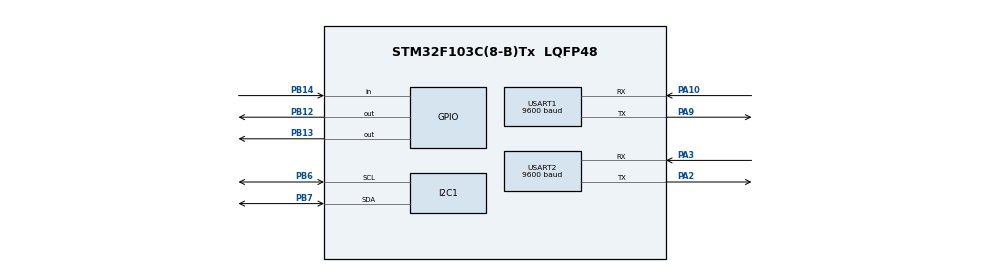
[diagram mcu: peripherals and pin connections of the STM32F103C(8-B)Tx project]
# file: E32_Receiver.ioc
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I2C1.I2C_Mode=I2C_Fast
Mcu.Family=STM32F1
Mcu.Name=STM32F103C(8-B)Tx
Mcu.Package=LQFP48
NVIC.PriorityGroup=NVIC_PRIORITYGROUP_4
NVIC.USART2_IRQn=true\:0\:0\:false\:false\:true\:true\:true\:true
PA10.Mode=Asynchronous
PA10.Signal=USART1_RX
PA13.Mode=Serial_Wire
PA13.Signal=SYS_JTMS-SWDIO
PA14.Mode=Serial_Wire
PA14.Signal=SYS_JTCK-SWCLK
PA2.Mode=Asynchronous
PA2.Signal=USART2_TX
PA3.Mode=Asynchronous
PA3.Signal=USART2_RX
PA9.Mode=Asynchronous
PA9.Signal=USART1_TX
PB12.Signal=GPIO_Output
PB13.Signal=GPIO_Output
PB14.Signal=GPIO_Input
PB6.Mode=I2C
PB6.Signal=I2C1_SCL
PB7.Mode=I2C
PB7.Signal=I2C1_SDA
ProjectManager.HeapSize=0x200
ProjectManager.StackSize=0x400
ProjectManager.TargetToolchain=STM32CubeIDE
RCC.APB1Freq_Value=8000000
RCC.APB2Freq_Value=8000000
USART1.BaudRate=9600
USART1.VirtualMode=VM_ASYNC
USART2.BaudRate=9600
USART2.VirtualMode=VM_ASYNC
board=custom

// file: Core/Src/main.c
/* USER CODE BEGIN Header */
/**
  ******************************************************************************
  * @file           : main.c
  * @brief          : Main program body
  ******************************************************************************
  * @attention
  *
  * Copyright (c) 2025 STMicroelectronics.
  * All rights reserved.
  *
  * This software is licensed under terms that can be found in the LICENSE file
  * in the root directory of this software component.
  * If no LICENSE file comes with this software, it is provided AS-IS.
  *
  ******************************************************************************
  */
/* USER CODE END Header */
#include "main.h"

/* USER CODE BEGIN Includes */
#include "stdio.h"
#include "ssd1306.h"
#include "e32.h"
#include "e32_config.h"
#include "gps_parser.h"
#include "bt.h"
/* USER CODE END Includes */

I2C_HandleTypeDef hi2c1;

UART_HandleTypeDef huart1;
UART_HandleTypeDef huart2;

void SystemClock_Config(void);
static void MX_GPIO_Init(void);
static void MX_I2C1_Init(void);
static void MX_USART2_UART_Init(void);
static void MX_USART1_UART_Init(void);

int main(void)
{

  /* MCU Configuration--------------------------------------------------------*/

  /* Reset of all peripherals, Initializes the Flash interface and the Systick. */
  HAL_Init();

  /* Configure the system clock */
  SystemClock_Config();

  /* Initialize all configured peripherals */
  MX_GPIO_Init();
  MX_I2C1_Init();
  MX_USART2_UART_Init();
  MX_USART1_UART_Init();
  /* USER CODE BEGIN 2 */
//  TestE32();
//  uint8_t cfg[6];

  // Запис дефолту
//  E32_WriteDefaultConfig();

  // Зчитування конфігурації
//  E32_ReadConfig(cfg);
//  printf("CFG: %02X %02X %02X %02X %02X %02X\n",
//         cfg[0], cfg[1], cfg[2], cfg[3], cfg[4], cfg[5]);
  E32_Init(&huart2);

//  E32_RX_Init(&huart2);
  uint32_t found_speed;
  uint8_t cfg[6];

//  while(E32_AutoDetectSpeed(&found_speed, cfg) != 0)
//  {
////      printf("E32 UART speed detected: %lu\n", found_speed);
////      printf("CFG: %02X %02X %02X %02X %02X %02X\n",
////             cfg[0], cfg[1], cfg[2], cfg[3], cfg[4], cfg[5]);
//  }
//  else
//  {
//      printf("ERROR: Could not detect UART speed!\n");
//  }
//  E32_RX_Init(&huart2);
//  E32_SetMode(E32_MODE_NORMAL);
//  uint8_t cfg[6];
//  E32_GetConfiguration(cfg, 500000); // timeout 500 ms
//  E32_EnableRSSI();
//  HAL_UART_Receive_IT(&huart2, LoRa_RX_Buffer, 1);
//  E32_SetMode(E32_MODE_NORMAL);
  ssd1306_init();
  ssd1306_clear();
  ssd1306_write_string(0, 0, "LoRa Receiver");
  E32_RX_Init(&huart2);
  BT_Init(&huart1);
  srand(HAL_GetTick());

  /* USER CODE END 2 */

  /* Infinite loop */
  /* USER CODE BEGIN WHILE */
	char msg[128];
    while (1)
  {

    	GPSPacket_t fake;

		fake.lat   = rand_float(-90.0f, 90.0f);
		fake.lon   = rand_float(-180.0f, 180.0f);
		fake.alt   = rand_float(0.0f, 2000.0f);     // довільно
		fake.speed = rand_float(0.0f, 120.0f);      // довільно

		// Формуємо текст для передачі
		char bt_msg[64];
		snprintf(bt_msg, sizeof(bt_msg),
				 "Lat=%.6f Lon=%.6f Alt=%.1f Speed=%.2f\n",
				 fake.lat, fake.lon, fake.alt, fake.speed);

		// Надсилаємо на Bluetooth
		BT_Send(bt_msg);
		HAL_Delay(2000);
		continue;
    	if (E32_RX_MessageReady())
    	{
    		E32_RX_GetMessage(msg, sizeof(msg));
    		printf("RECEIVED: %s\n", msg);

    		GPSPacket_t gps;

    		if (GPS_Parse(msg, &gps))
    		{
    			printf("Lat=%.6f  Lon=%.6f  Alt=%.1f  Speed=%.2f\n",
    				   gps.lat, gps.lon, gps.alt, gps.speed);
    		}
    		else
    		{
    			printf("Parse error!\n");
    		}
    		ssd1306_write_string(0, 0, "LoRa Receiver");char buf[32];

    		if (GPS_Parse(msg, &gps))
    		{
    		    snprintf(buf, sizeof(buf), "Lat: %.6f", gps.lat);
    		    ssd1306_write_string(0, 1, buf);

    		    snprintf(buf, sizeof(buf), "Lon: %.6f", gps.lon);
    		    ssd1306_write_string(0, 2, buf);

    		    snprintf(buf, sizeof(buf), "Alt: %.1f m", gps.alt);
    		    ssd1306_write_string(0, 3, buf);

    		    snprintf(buf, sizeof(buf), "Spd: %.2f km/h", gps.speed);
    		    ssd1306_write_string(0, 4, buf);
    		}
    		else
    		{
//    		    ssd1306_write_string(0, 0, "Parse error!");
    			// Генеруємо випадкові координати
				GPSPacket_t fake;

				fake.lat   = rand_float(-90.0f, 90.0f);
				fake.lon   = rand_float(-180.0f, 180.0f);
				fake.alt   = rand_float(0.0f, 2000.0f);     // довільно
				fake.speed = rand_float(0.0f, 120.0f);      // довільно

				// Формуємо текст для передачі
				char bt_msg[64];
				snprintf(bt_msg, sizeof(bt_msg),
						 "Lat=%.6f Lon=%.6f Alt=%.1f Speed=%.2f\n",
						 fake.lat, fake.lon, fake.alt, fake.speed);

				// Надсилаємо на Bluetooth
				BT_Send(bt_msg);
    		}

    		// TODO: розбір GPS тут, якщо хочеш
    	}
    /* USER CODE END WHILE */

  }
}

void SystemClock_Config(void)
{
  RCC_OscInitTypeDef RCC_OscInitStruct = {0};
  RCC_ClkInitTypeDef RCC_ClkInitStruct = {0};

  /** Initializes the RCC Oscillators according to the specified parameters
  * in the RCC_OscInitTypeDef structure.
  */
  RCC_OscInitStruct.OscillatorType = RCC_OSCILLATORTYPE_HSI;
  RCC_OscInitStruct.HSIState = RCC_HSI_ON;
  RCC_OscInitStruct.HSICalibrationValue = RCC_HSICALIBRATION_DEFAULT;
  RCC_OscInitStruct.PLL.PLLState = RCC_PLL_NONE;
  if (HAL_RCC_OscConfig(&RCC_OscInitStruct) != HAL_OK)
  {
    Error_Handler();
  }

  /** Initializes the CPU, AHB and APB buses clocks
  */
  RCC_ClkInitStruct.ClockType = RCC_CLOCKTYPE_HCLK|RCC_CLOCKTYPE_SYSCLK
                              |RCC_CLOCKTYPE_PCLK1|RCC_CLOCKTYPE_PCLK2;
  RCC_ClkInitStruct.SYSCLKSource = RCC_SYSCLKSOURCE_HSI;
  RCC_ClkInitStruct.AHBCLKDivider = RCC_SYSCLK_DIV1;
  RCC_ClkInitStruct.APB1CLKDivider = RCC_HCLK_DIV1;
  RCC_ClkInitStruct.APB2CLKDivider = RCC_HCLK_DIV1;

  if (HAL_RCC_ClockConfig(&RCC_ClkInitStruct, FLASH_LATENCY_0) != HAL_OK)
  {
    Error_Handler();
  }
}

static void MX_I2C1_Init(void)
{

  hi2c1.Instance = I2C1;
  hi2c1.Init.ClockSpeed = 400000;
  hi2c1.Init.DutyCycle = I2C_DUTYCYCLE_2;
  hi2c1.Init.OwnAddress1 = 0;
  hi2c1.Init.AddressingMode = I2C_ADDRESSINGMODE_7BIT;
  hi2c1.Init.DualAddressMode = I2C_DUALADDRESS_DISABLE;
  hi2c1.Init.OwnAddress2 = 0;
  hi2c1.Init.GeneralCallMode = I2C_GENERALCALL_DISABLE;
  hi2c1.Init.NoStretchMode = I2C_NOSTRETCH_DISABLE;
  if (HAL_I2C_Init(&hi2c1) != HAL_OK)
  {
    Error_Handler();
  }

}

static void MX_USART1_UART_Init(void)
{

  huart1.Instance = USART1;
  huart1.Init.BaudRate = 9600;
  huart1.Init.WordLength = UART_WORDLENGTH_8B;
  huart1.Init.StopBits = UART_STOPBITS_1;
  huart1.Init.Parity = UART_PARITY_NONE;
  huart1.Init.Mode = UART_MODE_TX_RX;
  huart1.Init.HwFlowCtl = UART_HWCONTROL_NONE;
  huart1.Init.OverSampling = UART_OVERSAMPLING_16;
  if (HAL_UART_Init(&huart1) != HAL_OK)
  {
    Error_Handler();
  }

}

static void MX_USART2_UART_Init(void)
{

  huart2.Instance = USART2;
  huart2.Init.BaudRate = 9600;
  huart2.Init.WordLength = UART_WORDLENGTH_8B;
  huart2.Init.StopBits = UART_STOPBITS_1;
  huart2.Init.Parity = UART_PARITY_NONE;
  huart2.Init.Mode = UART_MODE_TX_RX;
  huart2.Init.HwFlowCtl = UART_HWCONTROL_NONE;
  huart2.Init.OverSampling = UART_OVERSAMPLING_16;
  if (HAL_UART_Init(&huart2) != HAL_OK)
  {
    Error_Handler();
  }

}

static void MX_GPIO_Init(void)
{
  GPIO_InitTypeDef GPIO_InitStruct = {0};

  /* GPIO Ports Clock Enable */
  __HAL_RCC_GPIOA_CLK_ENABLE();
  __HAL_RCC_GPIOB_CLK_ENABLE();

  /*Configure GPIO pin Output Level */
  HAL_GPIO_WritePin(GPIOB, GPIO_PIN_12|GPIO_PIN_13, GPIO_PIN_RESET);

  /*Configure GPIO pins : PB12 PB13 */
  GPIO_InitStruct.Pin = GPIO_PIN_12|GPIO_PIN_13;
  GPIO_InitStruct.Mode = GPIO_MODE_OUTPUT_PP;
  GPIO_InitStruct.Pull = GPIO_NOPULL;
  GPIO_InitStruct.Speed = GPIO_SPEED_FREQ_LOW;
  HAL_GPIO_Init(GPIOB, &GPIO_InitStruct);

  /*Configure GPIO pin : PB14 */
  GPIO_InitStruct.Pin = GPIO_PIN_14;
  GPIO_InitStruct.Mode = GPIO_MODE_INPUT;
  GPIO_InitStruct.Pull = GPIO_NOPULL;
  HAL_GPIO_Init(GPIOB, &GPIO_InitStruct);

}

void Error_Handler(void)
{
  __disable_irq();
  while (1)
  {
  }
}
